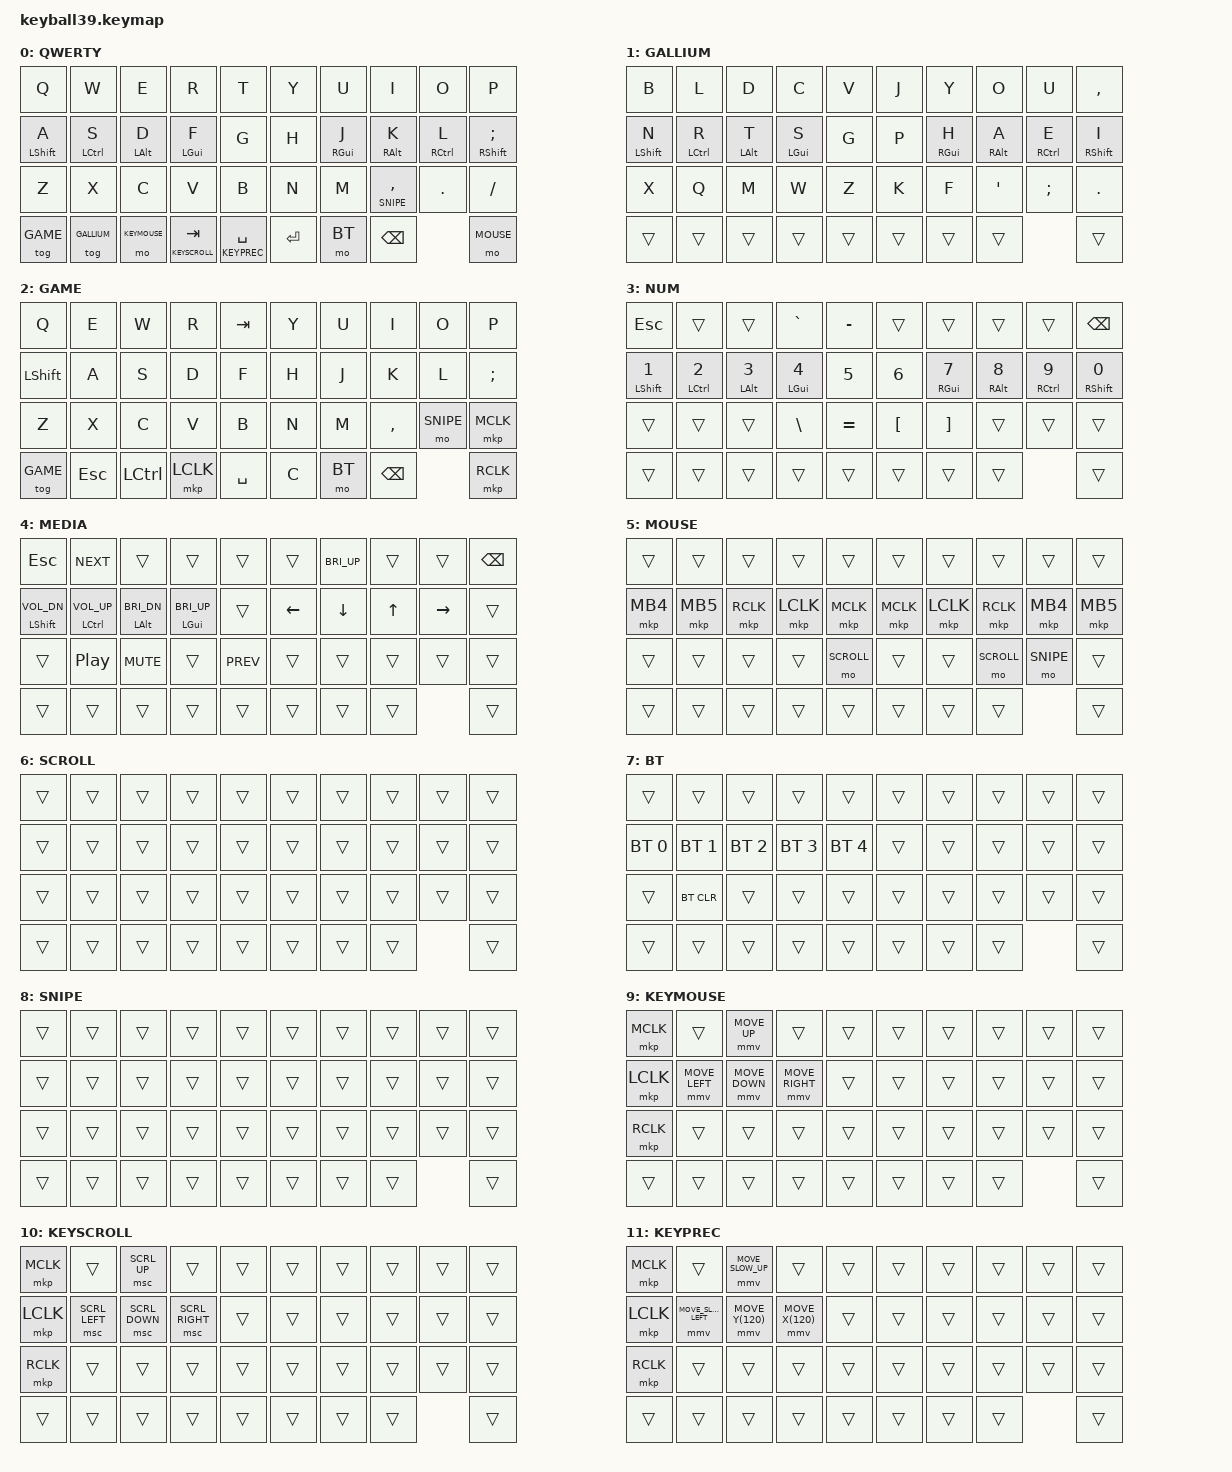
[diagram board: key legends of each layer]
#define QWERTY  0
#define GALLIUM 1
#define GAME    2
#define NUM     3
#define MEDIA   4
#define MOUSE   5
#define SCROLL  6
#define BT      7
#define SNIPE   8
#define KEYMOUSE 9
#define KEYSCROLL 10
#define KEYPREC 11

#include <behaviors/mouse_keys.dtsi>
#include <dt-bindings/zmk/mouse.h>
#include <dt-bindings/zmk/pointing.h>
#include <behaviors.dtsi>
#include <dt-bindings/zmk/keys.h>
#include <dt-bindings/zmk/bt.h>

#define MOVE_SLOW_UP MOVE_Y(-120)
#define MOVE_SLOW_DOWN MOVE_Y(120)
#define MOVE_SLOW_LEFT MOVE_X(-120)
#define MOVE_SLOW_RIGHT MOVE_X(120)

&lt {
    tapping-term-ms = <240>;
    flavor = "tap-preferred";
    quick-tap-ms = <150>;
};

&mt {
    tapping-term-ms = <200>;
    flavor = "tap-preferred";
    quick-tap-ms = <200>;
};

&caps_word {
    continue-list = <UNDERSCORE MINUS>;
};

/ {
    combos {
        compatible = "zmk,combos";

        combo_esc {
            timeout-ms = <50>;
            key-positions = <16 17>;
            bindings = <&kp ESC>;
        };

        combo_quote {
            timeout-ms = <50>;
            key-positions = <18 19>;
            bindings = <&kp SQT>;
        };
    };

    keymap {
        compatible = "zmk,keymap";

        // ---------- Default Layer ----------
        default_layer {
            label = "QWERTY";
            bindings = <
                &kp Q                 &kp W                 &kp E                 &kp R                &kp T             &kp Y             &kp U             &kp I             &kp O             &kp P
                &mt LSHFT A           &mt LCTRL S           &mt LALT D            &mt LGUI F           &kp G             &kp H             &mt RGUI J        &mt RALT K        &mt RCTRL L       &mt RSHFT SEMI
                &kp Z                 &kp X                 &kp C                 &kp V                &kp B             &kp N             &kp M             &lt SNIPE COMMA   &kp DOT           &kp SLASH
                &tog GAME             &tog GALLIUM          &mo KEYMOUSE          &lt KEYSCROLL TAB    &lt KEYPREC SPACE &kp ENTER         &mo BT            &kp BSPC                            &mo MOUSE
            >;
        };

        // ---------- Gallium Layer ----------
        gallium_layer {
            label = "GALLIUM";
            bindings = <
                &kp B                 &kp L                 &kp D                 &kp C                &kp V             &kp J             &kp Y             &kp O             &kp U             &kp COMMA
                &mt LSHFT N           &mt LCTRL R           &mt LALT T            &mt LGUI S           &kp G             &kp P             &mt RGUI H        &mt RALT A        &mt RCTRL E       &mt RSHFT I
                &kp X                 &kp Q                 &kp M                 &kp W                &kp Z             &kp K             &kp F             &kp SQT           &kp SEMI          &kp DOT
                &trans                &trans                &trans                &trans               &trans            &trans            &trans            &trans                              &trans
            >;
        };

        // ---------- Game Layer ----------
        game_layer {
            label = "GAME";
            bindings = <
                &kp Q                 &kp E                 &kp W                 &kp R                 &kp TAB       &kp Y         &kp U         &kp I         &kp O         &kp P
                &kp LSHFT             &kp A                 &kp S                 &kp D                 &kp F         &kp H         &kp J         &kp K         &kp L         &kp SEMI
                &kp Z                 &kp X                 &kp C                 &kp V                 &kp B         &kp N         &kp M         &kp COMMA     &mo SNIPE     &mkp MCLK
                &tog GAME             &kp ESC               &kp LCTRL             &mkp LCLK             &kp SPACE     &kp C         &mo BT        &kp BSPC                    &mkp RCLK
            >;
        };

        // ---------- Number Layer ----------
        number_layer {
            label = "NUM";
            bindings = <
                &kp ESC               &trans                &trans               &kp GRAVE            &kp MINUS         &trans            &trans            &trans            &trans            &kp BSPC
                &mt LSHFT N1          &mt LCTRL N2          &mt LALT N3          &mt LGUI N4          &kp N5            &kp N6            &mt RGUI N7       &mt RALT N8       &mt RCTRL N9      &mt RSHFT N0
                &trans                &trans                &trans               &kp BSLH             &kp EQUAL         &kp LBKT          &kp RBKT          &trans            &trans            &trans
                &trans                &trans                &trans               &trans               &trans            &trans            &trans            &trans                              &trans
            >;
        };

        // ---------- Media Layer ----------
        media_layer {
            label = "MEDIA";
            bindings = <
                &kp ESC               &kp C_NEXT            &trans               &trans               &trans            &trans            &kp C_BRI_UP      &trans            &trans            &kp BSPC
                &mt LSHFT C_VOL_DN    &mt LCTRL C_VOL_UP    &mt LALT C_BRI_DN    &mt LGUI C_BRI_UP    &trans            &kp LEFT          &kp DOWN          &kp UP            &kp RIGHT         &trans
                &trans                &kp C_PLAY_PAUSE      &kp C_MUTE           &trans               &kp C_PREV        &trans            &trans            &trans            &trans            &trans
                &trans                &trans                &trans               &trans               &trans            &trans            &trans            &trans                              &trans
            >;
        };

        // ---------- Mouse Layer ----------
        mouse_layer {
            label = "MOUSE";
            bindings = <
                &trans                &trans                &trans               &trans               &trans            &trans            &trans            &trans            &trans            &trans
                &mkp MB4              &mkp MB5              &mkp RCLK            &mkp LCLK            &mkp MCLK         &mkp MCLK         &mkp LCLK         &mkp RCLK         &mkp MB4          &mkp MB5
                &trans                &trans                &trans               &trans               &mo SCROLL        &trans            &trans            &mo SCROLL        &mo SNIPE         &trans
                &trans                &trans                &trans               &trans               &trans            &trans            &trans            &trans                              &trans
            >;
        };

        // ---------- Scroll Layer ----------
        scroll_layer {
            label = "SCROLL";
            bindings = <
                &trans                &trans                &trans               &trans               &trans            &trans            &trans            &trans            &trans            &trans
                &trans                &trans                &trans               &trans               &trans            &trans            &trans            &trans            &trans            &trans
                &trans                &trans                &trans               &trans               &trans            &trans            &trans            &trans            &trans            &trans
                &trans                &trans                &trans               &trans               &trans            &trans            &trans            &trans                              &trans
            >;
        };

        // ---------- Bluetooth Layer ----------
        bt_layer {
            label = "BT";
            bindings = <
                &trans                &trans                &trans                &trans                &trans            &trans            &trans            &trans            &trans            &trans
                &bt BT_SEL 0          &bt BT_SEL 1          &bt BT_SEL 2          &bt BT_SEL 3          &bt BT_SEL 4      &trans            &trans            &trans            &trans            &trans
                &trans                &bt BT_CLR            &trans                &trans                &trans            &trans            &trans            &trans            &trans            &trans
                &trans                &trans                &trans                &trans                &trans            &trans            &trans            &trans                              &trans
            >;
        };
       
        // ---------- SNIPE Layer ----------
        snipe_layer {
            label = "SNIPE";
            bindings = <
                &trans                &trans                &trans               &trans               &trans            &trans            &trans            &trans            &trans            &trans
                &trans                &trans                &trans               &trans               &trans            &trans            &trans            &trans            &trans            &trans
                &trans                &trans                &trans               &trans               &trans            &trans            &trans            &trans            &trans            &trans
                &trans                &trans                &trans               &trans               &trans            &trans            &trans            &trans                              &trans
            >;
        };

        // ---------- Keyboard Mouse Layer ----------
        keymouse_layer {
            label = "KEYMOUSE";
            bindings = <
                &mkp MCLK             &trans                &mmv MOVE_UP        &trans               &trans            &trans            &trans            &trans            &trans            &trans
                &mkp LCLK             &mmv MOVE_LEFT        &mmv MOVE_DOWN      &mmv MOVE_RIGHT      &trans            &trans            &trans            &trans            &trans            &trans
                &mkp RCLK             &trans                &trans              &trans               &trans            &trans            &trans            &trans            &trans            &trans
                &trans                &trans                &trans              &trans               &trans            &trans            &trans            &trans                              &trans
            >;
        };

        // ---------- Keyboard Scroll Layer ----------
        keyscroll_layer {
            label = "KEYSCROLL";
            bindings = <
                &mkp MCLK             &trans                &msc SCRL_UP        &trans               &trans            &trans            &trans            &trans            &trans            &trans
                &mkp LCLK             &msc SCRL_LEFT        &msc SCRL_DOWN      &msc SCRL_RIGHT      &trans            &trans            &trans            &trans            &trans            &trans
                &mkp RCLK             &trans                &trans              &trans               &trans            &trans            &trans            &trans            &trans            &trans
                &trans                &trans                &trans              &trans               &trans            &trans            &trans            &trans                              &trans
            >;
        };

        // ---------- Keyboard Precision Mouse Layer ----------
        keyprec_layer {
            label = "KEYPREC";
            bindings = <
                &mkp MCLK             &trans                &mmv MOVE_SLOW_UP   &trans               &trans            &trans            &trans            &trans            &trans            &trans
                &mkp LCLK             &mmv MOVE_SLOW_LEFT   &mmv MOVE_SLOW_DOWN &mmv MOVE_SLOW_RIGHT &trans            &trans            &trans            &trans            &trans            &trans
                &mkp RCLK             &trans                &trans              &trans               &trans            &trans            &trans            &trans            &trans            &trans
                &trans                &trans                &trans              &trans               &trans            &trans            &trans            &trans                              &trans
            >;
        };
    };
};
